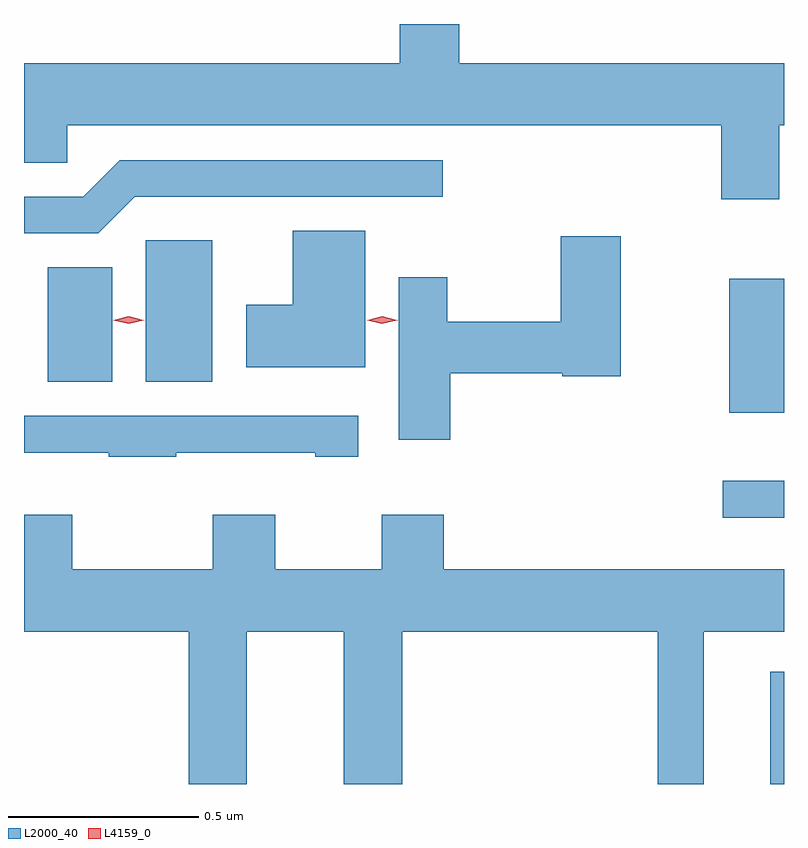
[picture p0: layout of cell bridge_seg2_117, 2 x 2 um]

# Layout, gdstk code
import gdstk
lib = gdstk.Library(unit=1e-6, precision=1e-09)
def R(c, l, rs):  # rectangles x0, y0, x1, y1
    for r in rs: c.add(gdstk.rectangle(r[:2], r[2:], *l))
def P(c, l, *ps):  # polygons
    for p in ps: c.add(gdstk.Polygon(p, *l))
L2000_40 = (2000, 40)
L4159_0 = (4159, 0)

bridge_seg2_117 = lib.new_cell('bridge_seg2_117')
R(bridge_seg2_117, L2000_40, [(460.712,657.891,460.748,658.186), (460.587,658.592,460.748,658.689), (460.604,658.868,460.748,659.221), (458.81,658.949,458.98,659.251), (459.068,658.949,459.244,659.322)])
P(bridge_seg2_117, L2000_40, [(460.735,659.624),(460.748,659.624),(460.748,659.788),(459.893,659.788),(459.893,659.891),(459.737,659.891),(459.737,659.788),(458.748,659.788),(458.748,659.526),(458.862,659.526),(458.862,659.624),(460.583,659.624),(460.583,659.43),(460.735,659.43)],
  [(459.039,659.436),(459.85,659.436),(459.85,659.532),(459,659.532),(458.904,659.436),(458.748,659.436),(458.748,659.34),(458.943,659.34)],
  [(459.646,659.347),(459.455,659.347),(459.455,659.152),(459.333,659.152),(459.333,658.988),(459.646,658.988)],
  [(459.87,658.972),(460.164,658.972),(460.164,658.964),(460.318,658.964),(460.318,659.332),(460.16,659.332),(460.16,659.108),(459.862,659.108),(459.862,659.224),(459.734,659.224),(459.734,658.797),(459.87,658.797)],
  [(459.149,658.763),(459.515,658.763),(459.515,658.752),(459.628,658.752),(459.628,658.86),(458.748,658.86),(458.748,658.763),(458.971,658.763),(458.971,658.752),(459.149,658.752)],
  [(459.334,658.292),(459.59,658.292),(459.59,657.891),(459.743,657.891),(459.743,658.292),(460.416,658.292),(460.416,657.891),(460.537,657.891),(460.537,658.292),(460.748,658.292),(460.748,658.456),(459.853,658.456),(459.853,658.6),(459.689,658.6),(459.689,658.456),(459.409,658.456),(459.409,658.6),(459.245,658.6),(459.245,658.456),(458.875,658.456),(458.875,658.6),(458.748,658.6),(458.748,658.292),(459.182,658.292),(459.182,657.891),(459.334,657.891)])
P(bridge_seg2_117, L4159_0, [(459.69,659.102),(459.651,659.112),(459.65,659.112),(459.651,659.112),(459.691,659.122),(459.73,659.112),(459.731,659.112),(459.73,659.112)],
  [(459.023,659.102),(458.983,659.112),(458.983,659.112),(458.983,659.112),(459.023,659.122),(459.063,659.112),(459.064,659.112),(459.063,659.112)])

lib.write_gds('bridge_seg2_117.gds')
